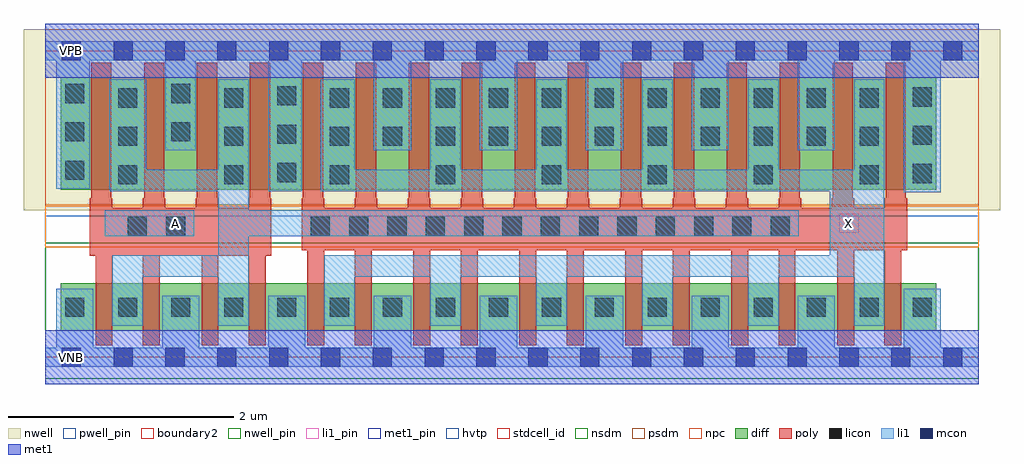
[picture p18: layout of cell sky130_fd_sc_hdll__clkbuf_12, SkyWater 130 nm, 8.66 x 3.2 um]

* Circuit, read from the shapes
.subckt sky130_fd_sc_hdll__clkbuf_12 A VGND VNB VPB VPWR X
XM1 n1 A VGND VNB sky130_fd_pr__nfet_01v8 w=0.42 l=0.15 m=4
XM2 X n1 VGND VNB sky130_fd_pr__nfet_01v8 w=0.42 l=0.15 m=12
XM3 n1 A VPWR VPB sky130_fd_pr__pfet_01v8_hvt w=1 l=0.18 m=4
XM4 X n1 VPWR VPB sky130_fd_pr__pfet_01v8_hvt w=1 l=0.18 m=12
.ends

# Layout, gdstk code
import gdstk
lib = gdstk.Library(unit=1e-6, precision=1e-09)
def R(c, l, rs):  # rectangles x0, y0, x1, y1
    for r in rs: c.add(gdstk.rectangle(r[:2], r[2:], *l))
def A(c, l, x, y, w, h, nx, ny, dx, dy):  # array of equal rectangles
    R(c, l, [(x+i*dx, y+j*dy, x+i*dx+w, y+j*dy+h) for i in range(nx) for j in range(ny)])
def P(c, l, *ps):  # polygons
    for p in ps: c.add(gdstk.Polygon(p, *l))
nwell_pin = (64, 16)
nwell = (64, 20)
diff = (65, 20)
poly = (66, 20)
licon = (66, 44)
li1_pin = (67, 16)
li1 = (67, 20)
mcon = (67, 44)
met1_pin = (68, 16)
met1 = (68, 20)
hvtp = (78, 44)
stdcell_id = (81, 4)
nsdm = (93, 44)
psdm = (94, 20)
npc = (95, 20)
pwell_pin = (122, 16)
boundary2 = (236, 0)

sky130_fd_sc_hdll__clkbu = lib.new_cell('sky130_fd_sc_hdll__clkbuf_12')
R(sky130_fd_sc_hdll__clkbu, nwell_pin, [(0.145,2.635,0.315,2.805)])
R(sky130_fd_sc_hdll__clkbu, nwell, [(-0.19,1.305,8.47,2.91)])
R(sky130_fd_sc_hdll__clkbu, diff, [(0.135,0.235,7.905,0.655), (0.135,1.485,7.905,2.485)])
P(sky130_fd_sc_hdll__clkbu, poly, [(2.005,1.41),(1.995,1.41),(1.995,2.615),(1.815,2.615),(1.815,1.41),(1.805,1.41),(1.805,1.325),(1.535,1.325),(1.535,1.41),(1.525,1.41),(1.525,2.615),(1.345,2.615),(1.345,1.41),(1.335,1.41),(1.335,1.325),(1.065,1.325),(1.065,1.41),(1.055,1.41),(1.055,2.615),(0.875,2.615),(0.875,1.41),(0.865,1.41),(0.865,1.325),(0.595,1.325),(0.595,1.41),(0.585,1.41),(0.585,2.615),(0.405,2.615),(0.405,1.41),(0.395,1.41),(0.395,0.9),(0.445,0.9),(0.445,0.105),(0.595,0.105),(0.595,0.9),(0.865,0.9),(0.865,0.105),(1.015,0.105),(1.015,0.9),(1.385,0.9),(1.385,0.105),(1.535,0.105),(1.535,0.9),(1.805,0.9),(1.805,0.105),(1.955,0.105),(1.955,0.9),(2.005,0.9)],
  [(7.645,1.41),(7.635,1.41),(7.635,2.615),(7.455,2.615),(7.455,1.41),(7.445,1.41),(7.445,1.325),(7.175,1.325),(7.175,1.41),(7.165,1.41),(7.165,2.615),(6.985,2.615),(6.985,1.41),(6.975,1.41),(6.975,1.325),(6.705,1.325),(6.705,1.41),(6.695,1.41),(6.695,2.615),(6.515,2.615),(6.515,1.41),(6.505,1.41),(6.505,1.325),(6.235,1.325),(6.235,1.41),(6.225,1.41),(6.225,2.615),(6.045,2.615),(6.045,1.41),(6.035,1.41),(6.035,1.325),(5.765,1.325),(5.765,1.41),(5.755,1.41),(5.755,2.615),(5.575,2.615),(5.575,1.41),(5.565,1.41),(5.565,1.325),(5.295,1.325),(5.295,1.41),(5.285,1.41),(5.285,2.615),(5.105,2.615),(5.105,1.41),(5.095,1.41),(5.095,1.325),(4.825,1.325),(4.825,1.41),(4.815,1.41),(4.815,2.615),(4.635,2.615),(4.635,1.41),(4.625,1.41),(4.625,1.325),(4.355,1.325),(4.355,1.41),(4.345,1.41),(4.345,2.615),(4.165,2.615),(4.165,1.41),(4.155,1.41),(4.155,1.325),(3.885,1.325),(3.885,1.41),(3.875,1.41),(3.875,2.615),(3.695,2.615),(3.695,1.41),(3.685,1.41),(3.685,1.325),(3.415,1.325),(3.415,1.41),(3.405,1.41),(3.405,2.615),(3.225,2.615),(3.225,1.41),(3.215,1.41),(3.215,1.325),(2.945,1.325),(2.945,1.41),(2.935,1.41),(2.935,2.615),(2.755,2.615),(2.755,1.41),(2.745,1.41),(2.745,1.325),(2.475,1.325),(2.475,1.41),(2.465,1.41),(2.465,2.615),(2.285,2.615),(2.285,1.41),(2.275,1.41),(2.275,0.95),(2.325,0.95),(2.325,0.105),(2.475,0.105),(2.475,0.95),(2.745,0.95),(2.745,0.105),(2.895,0.105),(2.895,0.95),(3.265,0.95),(3.265,0.105),(3.415,0.105),(3.415,0.95),(3.685,0.95),(3.685,0.105),(3.835,0.105),(3.835,0.95),(4.205,0.95),(4.205,0.105),(4.355,0.105),(4.355,0.95),(4.625,0.95),(4.625,0.105),(4.775,0.105),(4.775,0.95),(5.145,0.95),(5.145,0.105),(5.295,0.105),(5.295,0.95),(5.565,0.95),(5.565,0.105),(5.715,0.105),(5.715,0.95),(6.085,0.95),(6.085,0.105),(6.235,0.105),(6.235,0.95),(6.505,0.95),(6.505,0.105),(6.655,0.105),(6.655,0.95),(7.025,0.95),(7.025,0.105),(7.175,0.105),(7.175,0.95),(7.445,0.95),(7.445,0.105),(7.595,0.105),(7.595,0.95),(7.645,0.95)])
A(sky130_fd_sc_hdll__clkbu, licon, 0.175, 0.36, 0.17, 0.17, 17, 1, 0.47, 0)
A(sky130_fd_sc_hdll__clkbu, licon, 2.355, 1.075, 0.17, 0.17, 13, 1, 0.34, 0)
A(sky130_fd_sc_hdll__clkbu, licon, 0.645, 1.535, 0.17, 0.17, 8, 1, 0.94, 0)
A(sky130_fd_sc_hdll__clkbu, licon, 7.695, 1.545, 0.17, 0.17, 1, 3, 0, 0.34)
A(sky130_fd_sc_hdll__clkbu, licon, 2.055, 1.555, 0.17, 0.17, 1, 3, 0, 0.34)
A(sky130_fd_sc_hdll__clkbu, licon, 0.175, 1.575, 0.17, 0.17, 1, 3, 0, 0.34)
A(sky130_fd_sc_hdll__clkbu, licon, 0.645, 1.875, 0.17, 0.17, 3, 2, 0.94, 0.34)
A(sky130_fd_sc_hdll__clkbu, licon, 2.995, 1.875, 0.17, 0.17, 10, 2, 0.47, 0.34)
R(sky130_fd_sc_hdll__clkbu, licon, [(0.73,1.075,0.9,1.245), (1.07,1.075,1.24,1.245), (1.115,1.915,1.285,2.085), (1.115,2.255,1.285,2.425)])
R(sky130_fd_sc_hdll__clkbu, li1_pin, [(1.065,1.105,1.235,1.275), (7.045,1.105,7.215,1.275)])
R(sky130_fd_sc_hdll__clkbu, li1, [(0.525,1.075,1.32,1.305)])
P(sky130_fd_sc_hdll__clkbu, li1, [(6.685,1.305),(1.805,1.305),(1.805,2.465),(1.535,2.465),(1.535,1.665),(0.895,1.665),(0.895,2.465),(0.565,2.465),(0.565,1.495),(0.57,1.495),(0.57,1.475),(1.535,1.475),(1.535,0.905),(0.595,0.905),(0.595,0.28),(0.865,0.28),(0.865,0.715),(1.535,0.715),(1.535,0.28),(1.805,0.28),(1.805,1.075),(6.685,1.075)],
  [(7.445,2.465),(7.175,2.465),(7.175,1.665),(6.505,1.665),(6.505,2.465),(6.235,2.465),(6.235,1.665),(5.565,1.665),(5.565,2.465),(5.295,2.465),(5.295,1.665),(4.625,1.665),(4.625,2.465),(4.355,2.465),(4.355,1.665),(3.685,1.665),(3.685,2.465),(3.415,2.465),(3.415,1.665),(2.745,1.665),(2.745,2.465),(2.445,2.465),(2.445,1.475),(6.96,1.475),(6.96,0.905),(2.475,0.905),(2.475,0.28),(2.745,0.28),(2.745,0.715),(3.415,0.715),(3.415,0.28),(3.685,0.28),(3.685,0.715),(4.355,0.715),(4.355,0.28),(4.625,0.28),(4.625,0.715),(5.295,0.715),(5.295,0.28),(5.565,0.28),(5.565,0.715),(6.235,0.715),(6.235,0.28),(6.505,0.28),(6.505,0.715),(7.175,0.715),(7.175,0.28),(7.445,0.28)],
  [(8.28,2.805),(0,2.805),(0,2.635),(0.095,2.635),(0.095,1.495),(0.395,1.495),(0.395,2.635),(1.065,2.635),(1.065,1.835),(1.335,1.835),(1.335,2.635),(1.975,2.635),(1.975,1.475),(2.275,1.475),(2.275,2.635),(2.915,2.635),(2.915,1.835),(3.245,1.835),(3.245,2.635),(3.855,2.635),(3.855,1.835),(4.185,1.835),(4.185,2.635),(4.795,2.635),(4.795,1.835),(5.125,1.835),(5.125,2.635),(5.735,2.635),(5.735,1.835),(6.065,1.835),(6.065,2.635),(6.675,2.635),(6.675,1.835),(7.005,1.835),(7.005,2.635),(7.615,2.635),(7.615,1.465),(7.945,1.465),(7.945,2.635),(8.28,2.635)],
  [(8.28,0.085),(7.945,0.085),(7.945,0.61),(7.615,0.61),(7.615,0.085),(7.005,0.085),(7.005,0.545),(6.675,0.545),(6.675,0.085),(6.065,0.085),(6.065,0.545),(5.735,0.545),(5.735,0.085),(5.125,0.085),(5.125,0.545),(4.795,0.545),(4.795,0.085),(4.185,0.085),(4.185,0.545),(3.855,0.545),(3.855,0.085),(3.245,0.085),(3.245,0.545),(2.915,0.545),(2.915,0.085),(2.305,0.085),(2.305,0.545),(1.975,0.545),(1.975,0.085),(1.365,0.085),(1.365,0.545),(1.035,0.545),(1.035,0.085),(0.425,0.085),(0.425,0.61),(0.095,0.61),(0.095,0.085),(0,0.085),(0,-0.085),(8.28,-0.085)])
A(sky130_fd_sc_hdll__clkbu, mcon, 0.145, -0.085, 0.17, 0.17, 18, 2, 0.46, 2.72)
R(sky130_fd_sc_hdll__clkbu, met1_pin, [(0.145,-0.085,0.315,0.085), (0.145,2.635,0.315,2.805)])
R(sky130_fd_sc_hdll__clkbu, met1, [(0,-0.24,8.28,0.24), (0,2.48,8.28,2.96)])
R(sky130_fd_sc_hdll__clkbu, hvtp, [(0,1.25,8.28,2.72)])
R(sky130_fd_sc_hdll__clkbu, stdcell_id, [(0,0,8.28,2.72)])
R(sky130_fd_sc_hdll__clkbu, nsdm, [(0,-0.19,8.28,1.015)])
R(sky130_fd_sc_hdll__clkbu, psdm, [(0,1.355,8.28,2.91)])
R(sky130_fd_sc_hdll__clkbu, npc, [(0,0.975,8.28,1.345)])
R(sky130_fd_sc_hdll__clkbu, pwell_pin, [(0.145,-0.085,0.315,0.085)])
R(sky130_fd_sc_hdll__clkbu, boundary2, [(0,0,8.28,2.72)])
sky130_fd_sc_hdll__clkbu.add(gdstk.Label('A', (1.15,1.19), layer=67, texttype=5))
sky130_fd_sc_hdll__clkbu.add(gdstk.Label('X', (7.13,1.19), layer=67, texttype=5))
sky130_fd_sc_hdll__clkbu.add(gdstk.Label('VPB', (0.23,2.72), layer=64, texttype=5))
sky130_fd_sc_hdll__clkbu.add(gdstk.Label('VNB', (0.23,0), layer=64, texttype=59))
sky130_fd_sc_hdll__clkbu.add(gdstk.Label('VGND', (0.23,0), layer=68, texttype=5))
sky130_fd_sc_hdll__clkbu.add(gdstk.Label('VPWR', (0.23,2.72), layer=68, texttype=5))
sky130_fd_sc_hdll__clkbu.add(gdstk.Label('clkbuf_12', (0,0), layer=83, texttype=44))

lib.write_gds('sky130_fd_sc_hdll__clkbuf_12.gds')
